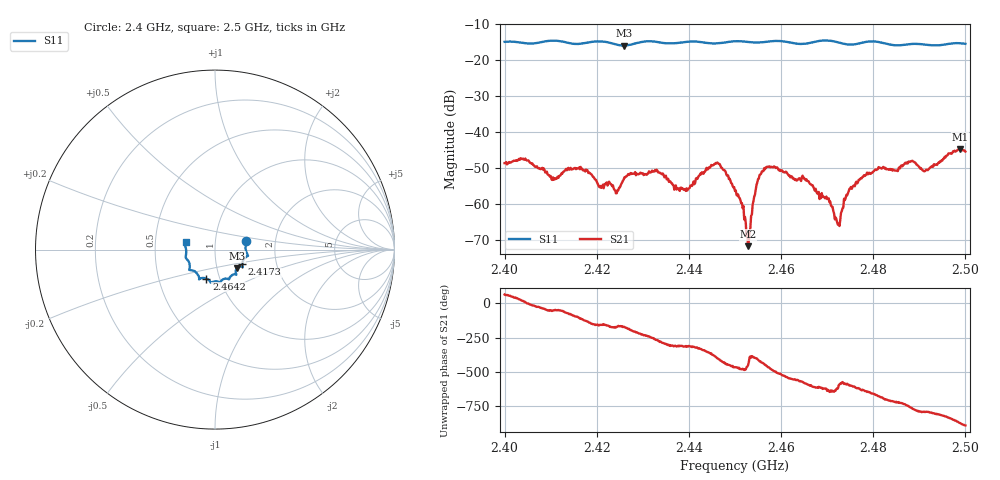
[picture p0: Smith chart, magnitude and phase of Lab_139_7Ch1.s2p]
# Hz S RI R
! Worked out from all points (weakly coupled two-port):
!   601 points, 2.4 GHz to 2.5 GHz, reference 50 ohm
!   highest |S21| = -44.73 dB at 2.4988 GHz (marker M1); lowest = -71.8 dB at 2.4528 GHz (marker M2)
!   lowest |S11| = -15.9 dB at 2.4258 GHz (marker M3), VSWR 1.38, Z = 62.4 - j13.2 ohm
!   |S11| at or under -10 dB: start of sweep to end of sweep
!   S12 and S22 are empty: the file has one direction only
!   S11 on the Smith chart (normalised r, x): 2.4 GHz: 1.41, +0.14; 2.4173 GHz: 1.34, -0.23; 2.4642 GHz: 0.86, -0.29; 2.5 GHz: 0.72, +0.06
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2.4e9  0.1732 0.0496  0.00167 0.00328  0 0  0 0
2.4045e9  0.171 0.0208  0.00424 0.000479  0 0  0 0
2.410667e9  0.1841 -0.0343  0.00132 -0.0017  0 0  0 0
2.416667e9  0.1531 -0.074  -0.00129 -0.00275  0 0  0 0
2.417333e9  0.1522 -0.0817  -0.00166 -0.00236  0 0  0 0
2.424167e9  0.1359 -0.0945  -0.00139 -8.49e-05  0 0  0 0
2.425833e9  0.1223 -0.1031  -0.00214 -0.000324  0 0  0 0
2.433333e9  0.1136 -0.1372  0.000203 0.00272  0 0  0 0
2.439333e9  0.0798 -0.1616  0.000992 0.00114  0 0  0 0
2.446167e9  0.0462 -0.1655  0.00286 -0.00243  0 0  0 0
2.45e9  0.0286 -0.1815  -0.000372 -0.00146  0 0  0 0
2.452833e9  0.0183 -0.1786  -4.83e-06 -0.000257  0 0  0 0
2.454667e9  0.00494 -0.1763  0.00139 -0.0012  0 0  0 0
2.456333e9  -0.00898 -0.1788  0.000462 -0.0031  0 0  0 0
2.464167e9  -0.0482 -0.1615  -0.00196 0.000948  0 0  0 0
2.466667e9  -0.0764 -0.159  -0.000816 0.00162  0 0  0 0
2.472333e9  -0.0891 -0.1538  -8.78e-05 0.000503  0 0  0 0
2.475333e9  -0.1098 -0.1232  -0.000793 0.00141  0 0  0 0
2.483333e9  -0.1406 -0.0896  0.00289 0.000698  0 0  0 0
2.4915e9  -0.1616 -0.0298  0.00108 -0.00279  0 0  0 0
2.498833e9  -0.1685 0.0365  -0.00508 -0.0028  0 0  0 0
2.5e9  -0.1636 0.0425  -0.00524 -0.00105  0 0  0 0
